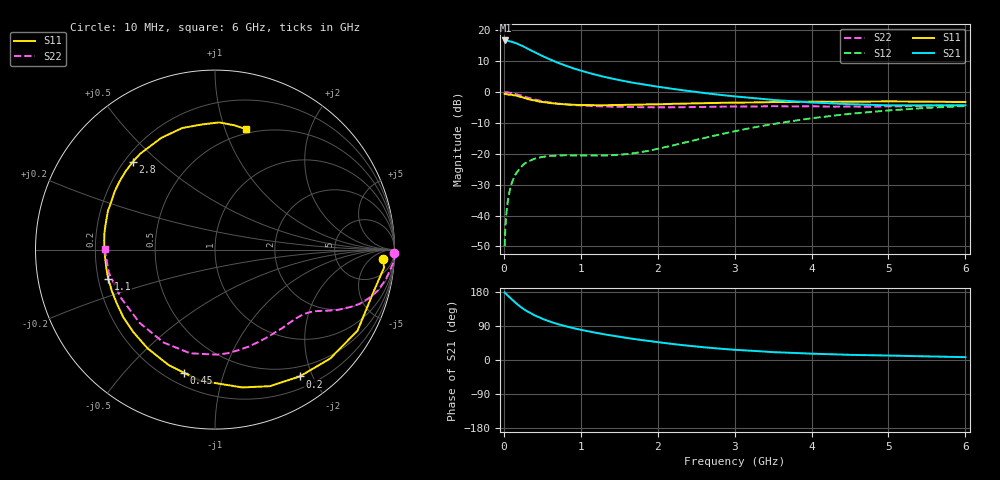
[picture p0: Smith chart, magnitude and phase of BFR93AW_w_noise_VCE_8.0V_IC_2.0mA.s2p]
! Infineon Technologies  Discrete & RF Semiconductors
! BFR93AW
! VCE =  8.0 V,  IC =  2.0 mA
! Common Emitter S-Parameters:  Jan 2017
# GHz  S  MA  R  50
!  f  S11  S21  S12  S22
! GHz  MAG  ANG  MAG  ANG  MAG  ANG  MAG  ANG
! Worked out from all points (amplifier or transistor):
!   77 points, 10 MHz to 6 GHz, reference 50 ohm
!   highest |S21| = 16.7 dB at 20 MHz (marker M1)
!   |S21| within 3 dB of that: start of sweep to 336.1 MHz
!   unconditionally stable (mu >= 1): 1.287 GHz to 2.241 GHz
!   at 130 MHz: K = 0.11, MSG = 21.9 dB, |S12| = -27.8 dB
!   at 2.2 GHz: K = 1.02, MAG = 8.4 dB, |S12| = -17.3 dB
!   at 6 GHz: K = 0.95, MSG = 0.1 dB, |S12| = -4.5 dB
!   lowest NFmin = 1.49 dB at 450 MHz
!   S11 on the Smith chart (normalised r, x): 10 MHz: 18, -15; 200 MHz: 0.36, -1.81; 450 MHz: 0.27, -0.74; 1.1 GHz: 0.24, -0.13; 2.8 GHz: 0.23, +0.41; 6 GHz: 0.46, +1.19
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0.01  0.9368 -3.2  6.815 178.2  0.0032 84.2  1 -1.0
0.02  0.9474 -6.1  6.87 176.3  0.0064 86.8  1 -2.2
0.05  0.9143 -14.8  6.779 170.3  0.0166 80.1  0.991 -5.1
0.1  0.9135 -29.6  6.567 160.7  0.0329 74.0  0.9667 -9.8
0.15  0.8834 -43.4  6.261 151.5  0.0462 66.6  0.936 -14.1
0.2  0.8497 -56.3  5.891 143.0  0.0566 60.9  0.8983 -17.6
0.25  0.8202 -68.1  5.527 135.3  0.0664 55.1  0.8611 -20.5
0.3  0.7829 -78.8  5.129 128.8  0.0736 50.2  0.8227 -22.8
0.4  0.7345 -96.8  4.445 117.7  0.0837 43.5  0.7616 -26.2
0.45  0.7077 -104.1  4.137 113.6  0.0864 41.0  0.7374 -27.3
0.5  0.6932 -111.9  3.853 108.8  0.0892 38.6  0.7135 -28.5
0.6  0.6662 -124.4  3.387 101.3  0.0927 35.7  0.6792 -30.2
0.7  0.6468 -134.6  3 94.9  0.0938 33.7  0.6533 -31.7
0.9  0.6238 -151.5  2.439 84.3  0.094 33.1  0.62 -34.9
1.1  0.6168 -164.8  2.056 75.6  0.0939 35.5  0.5996 -38.4
1.6  0.6232 171.3  1.48 58.2  0.0992 49.7  0.5763 -49.2
2.1  0.6398 153.1  1.175 44.7  0.1289 64.1  0.568 -62.5
2.8  0.67 133.1  0.907 30.1  0.2053 70.5  0.5816 -83.0
3.1  0.6776 125.5  0.832 25.8  0.2464 68.9  0.584 -91.8
4.1  0.7001 103.3  0.671 16.1  0.3902 57.4  0.5865 -122.2
5.1  0.7066 86.8  0.611 11.3  0.5151 41.7  0.5887 -155.8
6  0.6928 75.4  0.611 7.5  0.5963 27.8  0.6151 179.6
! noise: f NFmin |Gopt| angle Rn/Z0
0.45  1.49  0.44  71  0.2
0.9  1.76  0.41  128  0.21
1.9  3.23  0.56  -159  0.25
2.4  4.18  0.62  -139  0.45
